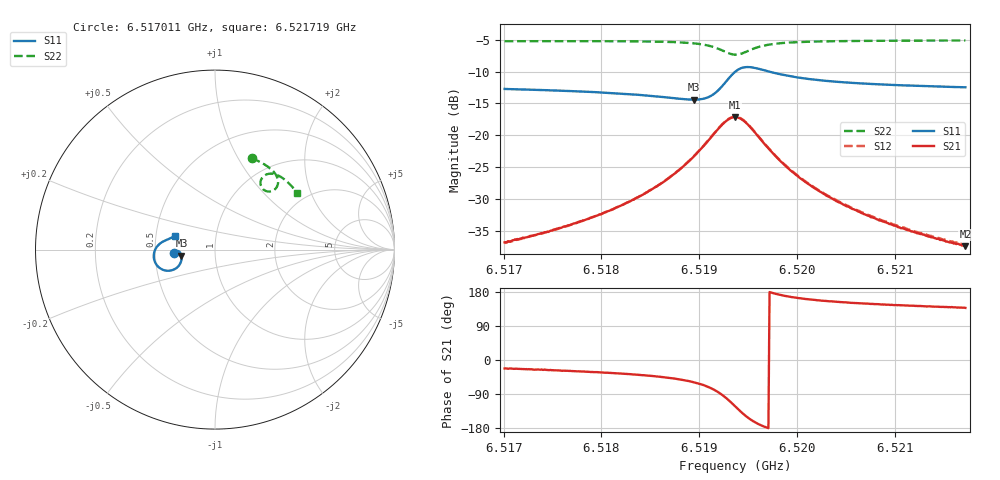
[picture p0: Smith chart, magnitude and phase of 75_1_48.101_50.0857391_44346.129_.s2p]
#  HZ  S  RI  R  50.00
! Rohde & Schwarz Vector Network Analyzer
! Rohde-Schwarz,ZNB20-2Port,1311601062101988,3.16
! Created: UTC 12/23/2023, 3:42:11 AM
! freq[Hz]  re:S11  im:S11  re:S21  im:S21  re:S12  im:S12  re:S22  im:S22
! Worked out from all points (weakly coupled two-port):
!   401 points, 6.517011 GHz to 6.521719 GHz, reference 50 ohm
!   highest |S21| = -17.17 dB at 6.519365 GHz (marker M1); lowest = -37.5 dB at 6.521719 GHz (marker M2)
!   lowest |S11| = -14.4 dB at 6.518941 GHz (marker M3), VSWR 1.47, Z = 34.2 - j2.45 ohm
!   |S11| at or under -10 dB: start of sweep to 6.519369 GHz; 6.519716 GHz to end of sweep
!   |S22| runs from -7.3 to -5.1 dB; largest |S21 - S12| = 0.0042
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6.517011e9  -0.2305 -0.017  0.0133 -0.00546  0.0134 -0.00491  0.2046 0.5088
6.5174583e9  -0.2253 -0.0105  0.0155 -0.00776  0.0159 -0.00722  0.2375 0.4947
6.5177996e9  -0.2205 -0.00674  0.0181 -0.0107  0.0185 -0.0101  0.2627 0.4817
6.5182234e9  -0.2119 -0.00486  0.0229 -0.0168  0.0235 -0.0162  0.2947 0.4619
6.5185883e9  -0.2009 -0.00971  0.0293 -0.0282  0.0303 -0.0274  0.3232 0.4379
6.5187766e9  -0.1934 -0.0182  0.0333 -0.0399  0.0346 -0.039  0.3375 0.4197
6.5189414e9  -0.1872 -0.0346  0.0354 -0.0575  0.0373 -0.0569  0.3486 0.3971
6.5190473e9  -0.1864 -0.0533  0.0329 -0.0758  0.0354 -0.0754  0.3515 0.3764
6.5191415e9  -0.1938 -0.0777  0.0224 -0.0981  0.0255 -0.0981  0.3464 0.3533
6.519271e9  -0.2366 -0.114  -0.0213 -0.1268  -0.0179 -0.1284  0.3133 0.3248
6.5193181e9  -0.2647 -0.1178  -0.0471 -0.1274  -0.0437 -0.1297  0.293 0.324
6.5193651e9  -0.2947 -0.1105  -0.0731 -0.1177  -0.0703 -0.1207  0.273 0.3321
6.5194122e9  -0.3198 -0.0918  -0.0935 -0.0986  -0.0915 -0.1021  0.2589 0.3482
6.5194711e9  -0.3376 -0.0602  -0.106 -0.0692  -0.1047 -0.0728  0.2532 0.3727
6.519577e9  -0.3369 -0.00966  -0.1 -0.026  -0.0999 -0.0292  0.2676 0.4061
6.519683e9  -0.3206 0.02  -0.0823 -0.00338  -0.083 -0.00573  0.2905 0.42
6.5199184e9  -0.2884 0.0456  -0.0527 0.012  -0.0536 0.0106  0.3314 0.4207
6.5201538e9  -0.2692 0.0543  -0.0368 0.0139  -0.0377 0.0132  0.3585 0.4098
6.5204952e9  -0.2529 0.061  -0.0246 0.013  -0.0254 0.0126  0.3873 0.3905
6.5209424e9  -0.2398 0.0676  -0.0165 0.0112  -0.0171 0.011  0.4164 0.3642
6.5213427e9  -0.2315 0.0731  -0.0125 0.00992  -0.013 0.00986  0.4389 0.3399
6.5217193e9  -0.2249 0.0783  -0.00988 0.00905  -0.0104 0.00889  0.4573 0.3165
